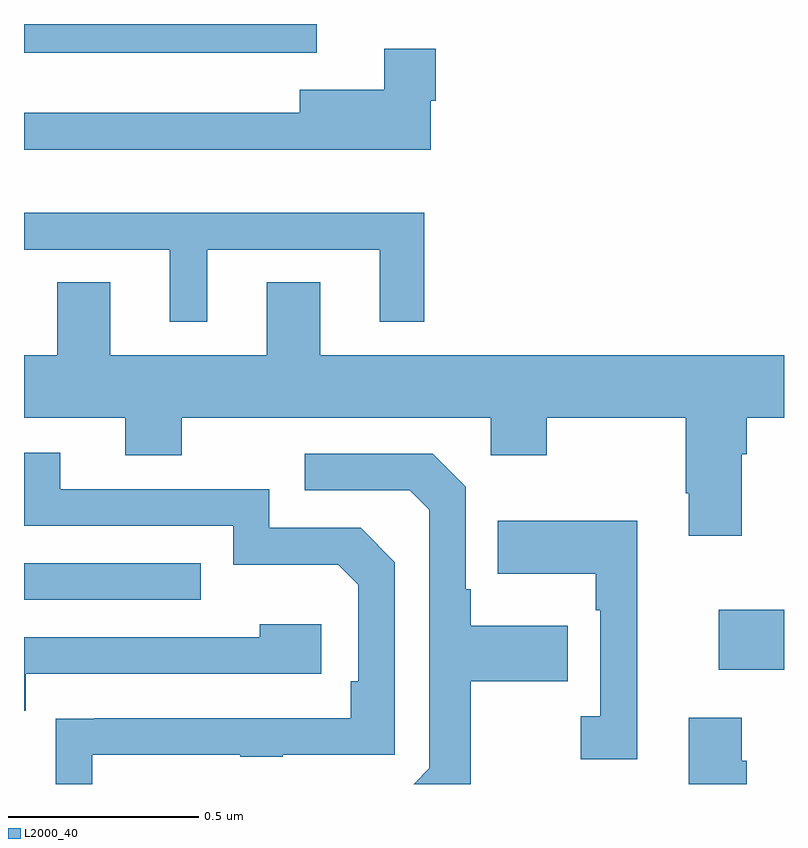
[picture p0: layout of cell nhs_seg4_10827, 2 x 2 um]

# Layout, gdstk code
import gdstk
lib = gdstk.Library(unit=1e-6, precision=1e-09)
def R(c, l, rs):  # rectangles x0, y0, x1, y1
    for r in rs: c.add(gdstk.rectangle(r[:2], r[2:], *l))
def P(c, l, *ps):  # polygons
    for p in ps: c.add(gdstk.Polygon(p, *l))
L2000_40 = (2000, 40)

nhs_seg4_10827 = lib.new_cell('nhs_seg4_10827')
R(nhs_seg4_10827, L2000_40, [(246.828,752.201,247,752.359), (245,752.385,245.465,752.481), (245,753.824,245.77,753.9)])
P(nhs_seg4_10827, L2000_40, [(246.07,753.698),(246.083,753.698),(246.083,753.835),(245.948,753.835),(245.948,753.727),(245.726,753.727),(245.726,753.667),(245,753.667),(245,753.569),(246.07,753.569)],
  [(245.482,753.306),(245.936,753.306),(245.936,753.117),(246.053,753.117),(246.053,753.403),(245,753.403),(245,753.306),(245.384,753.306),(245.384,753.117),(245.482,753.117)],
  [(246.889,752.768),(246.902,752.768),(246.902,752.864),(247,752.864),(247,753.028),(245.779,753.028),(245.779,753.221),(245.639,753.221),(245.639,753.028),(245.227,753.028),(245.227,753.221),(245.087,753.221),(245.087,753.028),(245,753.028),(245,752.864),(245.267,752.864),(245.267,752.765),(245.415,752.765),(245.415,752.864),(246.228,752.864),(246.228,752.765),(246.375,752.765),(246.375,752.864),(246.742,752.864),(246.742,752.665),(246.749,752.665),(246.749,752.553),(246.889,752.553)],
  [(245.179,751.977),(245.569,751.977),(245.569,751.972),(245.681,751.972),(245.681,751.977),(245.976,751.977),(245.976,752.484),(245.886,752.574),(245.646,752.574),(245.646,752.676),(245.095,752.676),(245.095,752.772),(245,752.772),(245,752.58),(245.55,752.58),(245.55,752.477),(245.827,752.477),(245.88,752.424),(245.88,752.17),(245.86,752.17),(245.86,752.073),(245.185,752.073),(245.185,752.072),(245.083,752.072),(245.083,751.9),(245.179,751.9)],
  [(246.175,752.17),(246.431,752.17),(246.431,752.317),(246.175,752.317),(246.175,752.413),(246.162,752.413),(246.162,752.682),(246.075,752.769),(245.739,752.769),(245.739,752.673),(246.015,752.673),(246.066,752.622),(246.066,751.941),(246.025,751.9),(246.175,751.9)],
  [(246.614,752.593),(246.247,752.593),(246.247,752.453),(246.504,752.453),(246.504,752.357),(246.516,752.357),(246.516,752.078),(246.465,752.078),(246.465,751.965),(246.614,751.965)],
  [(245.005,752.19),(245.782,752.19),(245.782,752.32),(245.621,752.32),(245.621,752.286),(245,752.286),(245,752.093),(245.005,752.093)],
  [(246.902,751.961),(246.889,751.961),(246.889,752.074),(246.749,752.074),(246.749,751.9),(246.902,751.9)])

lib.write_gds('nhs_seg4_10827.gds')
